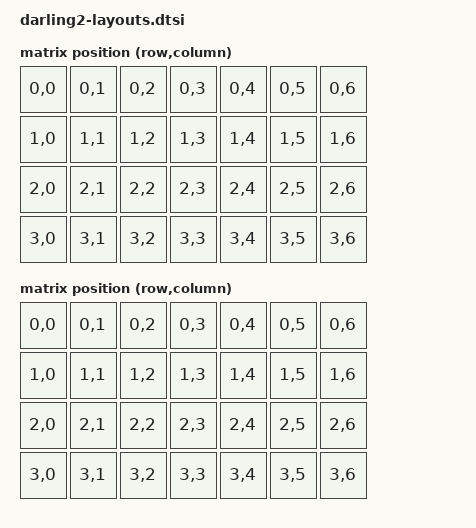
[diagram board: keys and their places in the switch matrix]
/*
 * DarlingV2 — SuperMini nRF52840 + 2×CD74HC4067
 * Гибридная клавиатура: 28 клавиш, каждая с мех-свичем + HE-сенсором
 * Раскладка: 6 рядов в physical_layout, но матрица 6×16 для совместимости с MUX
 */

#include <dt-bindings/zmk/matrix_transform.h>
#include <dt-bindings/he/mouse_forwarder.h>
#include <dt-bindings/he/gamepad_forwarder.h>
#include <input/he_processors.dtsi>
#include <physical_layouts.dtsi>

/* ============================================
 * ADC: 2 канала для 2 мультиплексоров
 * ============================================ */
&adc {
    status = "okay";
    #address-cells = <1>;
    #size-cells = <0>;

    channel@0 {
        reg = <0>;
        zephyr,input-positive = <NRF_SAADC_AIN0>;  /* P0.02 */
        zephyr,gain = "ADC_GAIN_1_2";
        zephyr,reference = "ADC_REF_INTERNAL";
        zephyr,acquisition-time = <ADC_ACQ_TIME(ADC_ACQ_TIME_MICROSECONDS, 10)>;
        zephyr,resolution = <12>;
    };

    channel@5 {
        reg = <5>;
        zephyr,input-positive = <NRF_SAADC_AIN5>;  /* P0.29 */
        zephyr,gain = "ADC_GAIN_1_2";
        zephyr,reference = "ADC_REF_INTERNAL";
        zephyr,acquisition-time = <ADC_ACQ_TIME(ADC_ACQ_TIME_MICROSECONDS, 10)>;
        zephyr,resolution = <12>;
    };
};

&raw_sp {
    matrix-size = <2 14>;   /* 2 MUX × 14 каналов = 28 HE */
    working-area = <250 3050>;
    filter-coefficients = <0x3ca485df 0x3d2485df 0x3ca485df 0x3f800000 0xbfc7cf71 0x3f242f9d>;
};

&he_pass {
    kscan-passthrough-position = <2700>;
    keymap-size = <12>;
};

&rt_pass {
    keymap-size = <12>;
};

&mouse_fw {
    time-to-max-speed-ms = <300>;
    working-area = <300 2800>;
    scale-x-float = <0x40400000>;
    scale-y-float = <0x40400000>;
    scale-h-wheel-float = <0x40400000>;
    scale-v-wheel-float = <0x40400000>;
};

&he_trans {
    // log;
};

/ {
    chosen {
        zmk,kscan = &kscan;
        zmk,physical-layout = &physical_layout0;
    };

    /* ============================================
     * МЕХАНИЧЕСКИЕ СВИЧИ (4×7 = 28 кнопок)
     * Используются ВСЕ 28 позиций матрицы
     * ============================================ */
    kscan_mech: kscan_mech {
        compatible = "zmk,kscan-gpio-matrix";
        diode-direction = "col2row";
        wakeup-source;
    };

    /* ============================================
     * HE через 2×CD74HC4067 (28 кнопок)
     * ============================================ */
    kscan_mux: kscan-mux {
        compatible = "he,kscan-multiplexer";
        resolution = <12>;
        wait-period-idle = <5>;
        wait-period-press = <1>;
        kscan-forwarder = <&kscan_forwarder>;
        
        default-calibration-min = <2000>;
        default-calibration-max = <3000>;
        default-deadzone-top = <250>;
        default-deadzone-bottom = <250>;

        /* MUX1: 14 каналов (0-13) */
        mux0: mux-0 {
            io-channels = <&adc 0>;
            address-range-min = <0>;
            address-range-max = <13>;
            switch-height = <3300>;
        };

        /* MUX2: 14 каналов (0-13) */
        mux1: mux-1 {
            io-channels = <&adc 5>;
            address-range-min = <0>;
            address-range-max = <13>;
            switch-height = <3300>;
        };
    };

    /* ============================================
     * Композитный сканер
     * Размеры 4×7 (для совместимости с MUX)
     *   
     * ============================================ */
    kscan: kscan0 {
        compatible = "zmk,kscan-composite";
        wakeup-source;
        rows = <4>;
        columns = <7>;

        gpio-matrix {
            kscan = <&kscan_mech>;
            row-offset = <0>;
            col-offset = <0>;
        };
        adc-direct {
            kscan = <&kscan_mux>;
            row-offset = <0>;
            col-offset = <0>;
        };
    };

    /* ============================================
     * SOCD и прочее
     * ============================================ */
    socd_d: he-socd1 {
        compatible = "he,input-processor-socd";
        #input-processor-cells = <1>;
        sensitivity = <250>;
        kscan-forwarder = <&kscan_forwarder>;
        kscan-passthrough;
        actuation-point = <2800>;
        type = "priority_deeper";
    };

    // ps: he_set_p {
    //     compatible = "he,behavior-pulse-set";
    //     #binding-cells = <1>;
    //     pulse-set-forwarder = <&pulse_set_forwarder>;
    // };

    he_transform: he_transform {
        compatible = "zmk,matrix-transform";
        columns = <7>;
        rows = <4>;
        map = <
           RC(0,0) RC(0,1) RC(0,2) RC(0,3) RC(0,4) RC(0,5) RC(0,6)
        RC(1,0) RC(1,1) RC(1,2) RC(1,3) RC(1,4) RC(1,5) RC(1,6)
        RC(2,0) RC(2,1) RC(2,2) RC(2,3) RC(2,4) RC(2,5) RC(2,6)
        RC(3,0) RC(3,1) RC(3,2) RC(3,3) RC(3,4) RC(3,5) RC(3,6)
             
        >;
    };

    he_keymap: he-keymap {
        compatible = "he,input-processor-keymap";
        #input-processor-cells = <1>;
        transform = <&he_transform>;
    };

    central_listener: central_listener {
        compatible = "he,input-listener";
        device = <&kscan_mux>;
        input-processors = <&raw_sp>;

        layer0 { layers = <0>; input-processors = <&he_keymap 0>; };
        layer1 { layers = <1>; input-processors = <&he_keymap 1>; };
        layer2 { layers = <2>; input-processors = <&he_keymap 2>; };
        layer3 { layers = <3>; input-processors = <&he_keymap 3>; };
    };

    /* ============================================
     * Физический layout (DarlingV2, 28 клавиш)
     * ============================================ */
    physical_layout0: physical_layout_0 {
        compatible = "zmk,physical-layout";
        display-name = "Darling2 Default";
        kscan = <&kscan>;
        transform = <&default_transform>;
        
        keys = 
            /* Row 0: Tab, Q, W, E, R, T, Y */
            <&key_physical_attrs 100 100   50  100  0  0  0>
            , <&key_physical_attrs 100 100 150  100  0  0  0>
            , <&key_physical_attrs 100 100 250  100  0  0  0>
            , <&key_physical_attrs 100 100 350  100  0  0  0>
            , <&key_physical_attrs 100 100 450  100  0  0  0>
            , <&key_physical_attrs 100 100 550  100  0  0  0>
            , <&key_physical_attrs 100 100 650  100  0  0  0>

            /* Row 1: caps, A, S, D, F, G, H */
            , <&key_physical_attrs 100 100   50  200  0  0  0>
            , <&key_physical_attrs 100 100 150  200  0  0  0>
            , <&key_physical_attrs 100 100 250  200  0  0  0>
            , <&key_physical_attrs 100 100 350  200  0  0  0>
            , <&key_physical_attrs 100 100 450  200  0  0  0>
            , <&key_physical_attrs 100 100 550  200  0  0  0>
            , <&key_physical_attrs 100 100 650  200  0  0  0>

            /* Row 2: shift, Z, X, C, V, B , N */
            , <&key_physical_attrs 100 100   50  300  0  0  0>
            , <&key_physical_attrs 100 100 150  300  0  0  0>
            , <&key_physical_attrs 100 100 250  300  0  0  0>
            , <&key_physical_attrs 100 100 350  300  0  0  0>
            , <&key_physical_attrs 100 100 450  300  0  0  0>
            , <&key_physical_attrs 100 100 550  300  0  0  0>
            , <&key_physical_attrs 100 100 650  300  0  0  0>

            /* Row 3: ctrl, alt, win, Up, Down, Space, Return */
            , <&key_physical_attrs 100 100   50  400  0  0  0>
            , <&key_physical_attrs 100 100 150  400  0  0  0>
            , <&key_physical_attrs 100 100 250  400  0  0  0>
            , <&key_physical_attrs 100 100 350  400  0  0  0>
            , <&key_physical_attrs 100 100 450  400  0  0  0>
            , <&key_physical_attrs 100 100 550  400  0  0  0>
            , <&key_physical_attrs 100 100 650  400  0  0  0>

            
            ;
    };

    default_transform: default_transform {
        compatible = "zmk,matrix-transform";
        columns = <7>;
        rows = <4>;
        map = <
            RC(0,0) RC(0,1) RC(0,2) RC(0,3) RC(0,4) RC(0,5) RC(0,6)
            RC(1,0) RC(1,1) RC(1,2) RC(1,3) RC(1,4) RC(1,5) RC(1,6)
            RC(2,0) RC(2,1) RC(2,2) RC(2,3) RC(2,4) RC(2,5) RC(2,6)
            RC(3,0) RC(3,1) RC(3,2) RC(3,3) RC(3,4) RC(3,5) RC(3,6)
            
        >;
    };
};
